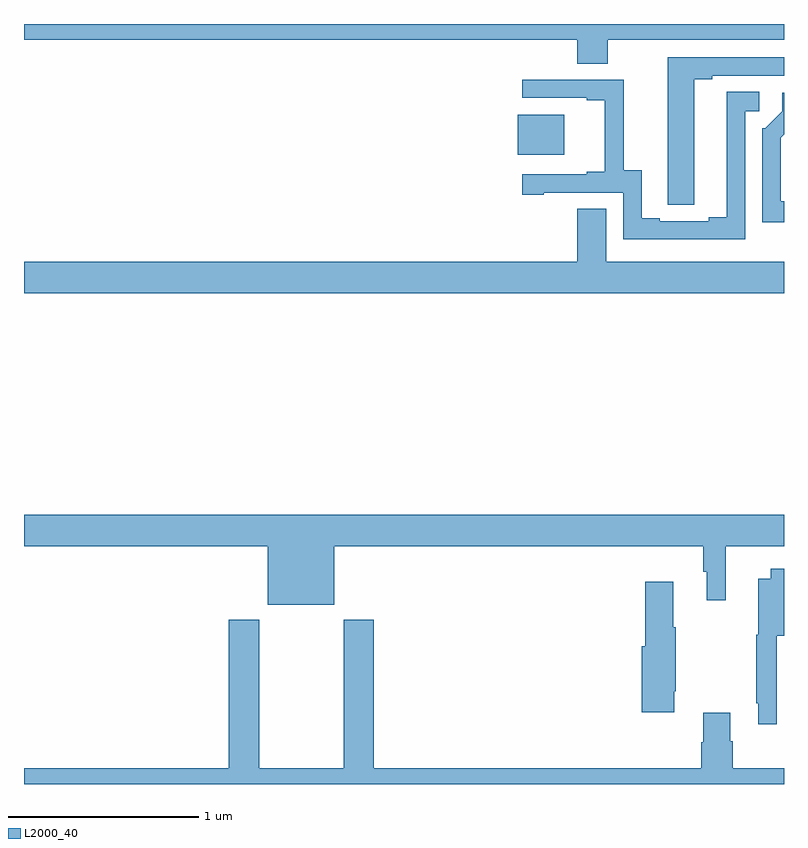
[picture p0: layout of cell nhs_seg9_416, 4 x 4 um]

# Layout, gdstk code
import gdstk
lib = gdstk.Library(unit=1e-6, precision=1e-09)
def R(c, l, rs):  # rectangles x0, y0, x1, y1
    for r in rs: c.add(gdstk.rectangle(r[:2], r[2:], *l))
def P(c, l, *ps):  # polygons
    for p in ps: c.add(gdstk.Polygon(p, *l))
L2000_40 = (2000, 40)

nhs_seg9_416 = lib.new_cell('nhs_seg9_416')
R(nhs_seg9_416, L2000_40, [(133.598,1199.813,133.843,1200.022)])
P(nhs_seg9_416, L2000_40, [(134.073,1200.416),(135,1200.416),(135,1200.5),(131,1200.5),(131,1200.416),(133.913,1200.416),(133.913,1200.292),(134.073,1200.292)],
  [(134.527,1200.208),(134.623,1200.208),(134.623,1200.228),(135,1200.228),(135,1200.324),(134.387,1200.324),(134.387,1199.656),(134.388,1199.656),(134.388,1199.548),(134.527,1199.548)],
  [(134.796,1200.042),(134.869,1200.042),(134.869,1200.143),(134.699,1200.143),(134.699,1199.483),(134.603,1199.483),(134.603,1199.463),(134.347,1199.463),(134.347,1199.478),(134.251,1199.478),(134.251,1199.729),(134.157,1199.729),(134.157,1200.207),(133.623,1200.207),(133.623,1200.111),(133.961,1200.111),(133.961,1200.099),(134.057,1200.099),(134.057,1199.722),(133.961,1199.722),(133.961,1199.709),(133.623,1199.709),(133.623,1199.601),(133.735,1199.601),(133.735,1199.613),(134.154,1199.613),(134.154,1199.367),(134.796,1199.367)],
  [(135,1199.566),(134.983,1199.566),(134.983,1199.902),(135,1199.919),(135,1200.138),(134.991,1200.138),(134.991,1200.042),(134.901,1199.952),(134.886,1199.952),(134.886,1199.456),(135,1199.456)],
  [(135,1199.248),(134.065,1199.248),(134.065,1199.528),(133.913,1199.528),(133.913,1199.248),(131,1199.248),(131,1199.084),(135,1199.084)],
  [(132.634,1197.752),(134.575,1197.752),(134.575,1197.618),(134.594,1197.618),(134.594,1197.468),(134.694,1197.468),(134.694,1197.752),(135,1197.752),(135,1197.916),(131,1197.916),(131,1197.752),(132.284,1197.752),(132.284,1197.443),(132.634,1197.443)],
  [(134.961,1197.281),(135,1197.281),(135,1197.634),(134.93,1197.634),(134.93,1197.58),(134.864,1197.58),(134.864,1197.285),(134.853,1197.285),(134.853,1196.926),(134.864,1196.926),(134.864,1196.814),(134.961,1196.814)],
  [(134.422,1196.989),(134.43,1196.989),(134.43,1197.325),(134.416,1197.325),(134.416,1197.565),(134.27,1197.565),(134.27,1197.225),(134.252,1197.225),(134.252,1196.877),(134.422,1196.877)],
  [(132.682,1197.364),(132.682,1196.584),(132.237,1196.584),(132.237,1197.364),(132.077,1197.364),(132.077,1196.584),(131,1196.584),(131,1196.5),(135,1196.5),(135,1196.584),(134.729,1196.584),(134.729,1196.726),(134.716,1196.726),(134.716,1196.875),(134.576,1196.875),(134.576,1196.721),(134.564,1196.721),(134.564,1196.584),(132.842,1196.584),(132.842,1197.364)])

lib.write_gds('nhs_seg9_416.gds')
